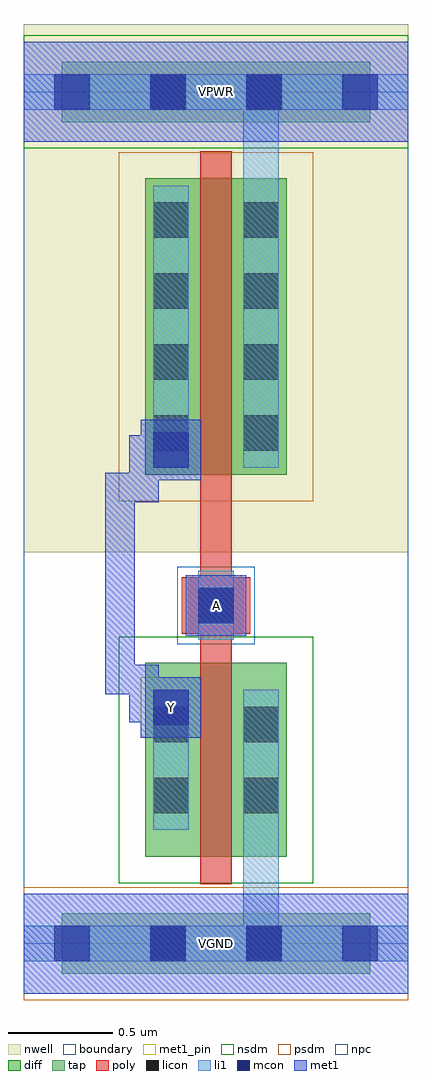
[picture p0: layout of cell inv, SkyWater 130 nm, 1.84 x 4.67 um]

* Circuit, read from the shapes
.subckt inv A VGND VPWR Y
XM1 VGND A Y VGND sky130_fd_pr__nfet_01v8 w=0.93 l=0.15
XM2 VPWR A Y VPWR sky130_fd_pr__pfet_01v8 w=1.42 l=0.15
.ends

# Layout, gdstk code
import gdstk
lib = gdstk.Library(unit=1e-6, precision=1e-09)
def R(c, l, rs):  # rectangles x0, y0, x1, y1
    for r in rs: c.add(gdstk.rectangle(r[:2], r[2:], *l))
def A(c, l, x, y, w, h, nx, ny, dx, dy):  # array of equal rectangles
    R(c, l, [(x+i*dx, y+j*dy, x+i*dx+w, y+j*dy+h) for i in range(nx) for j in range(ny)])
nwell = (64, 20)
diff = (65, 20)
tap = (65, 44)
poly = (66, 20)
licon = (66, 44)
li1 = (67, 20)
mcon = (67, 44)
met1_pin = (68, 16)
met1 = (68, 20)
nsdm = (93, 44)
psdm = (94, 20)
npc = (95, 20)
boundary = (235, 4)

inv = lib.new_cell('inv')
R(inv, nwell, [(0,1.875,1.84,4.405)])
R(inv, diff, [(0.58,0.415,1.26,1.345), (0.58,2.245,1.26,3.665)])
R(inv, tap, [(0.18,-0.145,1.66,0.145), (0.18,3.935,1.66,4.225)])
R(inv, poly, [(0.845,0.285,0.995,3.795), (0.755,1.485,1.085,1.755)])
A(inv, licon, 0.62, 2.36, 0.17, 0.17, 1, 4, 0, 0.34)
A(inv, licon, 1.05, 2.36, 0.17, 0.17, 1, 4, 0, 0.34)
R(inv, licon, [(0.605,-0.085,0.775,0.085), (1.065,-0.085,1.235,0.085), (0.62,0.625,0.79,0.795), (1.05,0.625,1.22,0.795), (0.62,0.965,0.79,1.135), (1.05,0.965,1.22,1.135), (0.835,1.535,1.005,1.705), (0.605,3.995,0.775,4.165), (1.065,3.995,1.235,4.165)])
R(inv, li1, [(0,-0.085,1.84,0.085), (1.05,-0.085,1.22,1.215), (0.62,0.545,0.79,1.215), (1.05,0.545,1.22,1.215), (0.835,1.455,1.005,1.785), (0.62,2.28,0.79,3.63), (1.05,2.28,1.22,3.63), (1.05,2.28,1.22,4.165), (0,3.995,1.84,4.165)])
A(inv, mcon, 0.145, -0.085, 0.17, 0.17, 4, 2, 0.46, 4.08)
R(inv, mcon, [(0.62,1.045,0.79,1.215), (0.835,1.535,1.005,1.705), (0.62,2.28,0.79,2.45)])
R(inv, met1_pin, [(0,-0.24,1.84,0.24), (0.56,0.985,0.85,1.275), (0.775,1.475,1.065,1.765), (0,3.84,1.84,4.32)])
R(inv, met1, [(0,-0.24,1.84,0.24), (0.56,0.985,0.85,1.275), (0.505,1.06,0.775,1.2), (0.505,1.06,0.645,1.335), (0.39,1.195,0.645,1.335), (0.39,1.195,0.53,2.255), (0.775,1.475,1.065,1.765), (0.39,2.115,0.645,2.255), (0.505,2.115,0.645,2.435), (0.56,2.22,0.85,2.51), (0.505,2.295,0.775,2.435), (0,3.84,1.84,4.32)])
R(inv, nsdm, [(0.455,0.29,1.385,1.47), (0,3.81,1.84,4.35)])
R(inv, psdm, [(0,-0.27,1.84,0.27), (0.455,2.12,1.385,3.79)])
R(inv, npc, [(0.735,1.435,1.105,1.805)])
R(inv, boundary, [(0,0,1.84,4.08)])
inv.add(gdstk.Label('A', (0.92,1.62), layer=68, texttype=5))
inv.add(gdstk.Label('Y', (0.705,1.13), layer=68, texttype=5))
inv.add(gdstk.Label('VPWR', (0.92,4.08), layer=68, texttype=5))
inv.add(gdstk.Label('VGND', (0.92,0), layer=68, texttype=5))
inv.add(gdstk.Label('A', (0.92,1.62), layer=68, texttype=16))
inv.add(gdstk.Label('Y', (0.705,1.13), layer=68, texttype=16))
inv.add(gdstk.Label('VPWR', (0.92,4.08), layer=68, texttype=16))
inv.add(gdstk.Label('VGND', (0.92,0), layer=68, texttype=16))

lib.write_gds('inv.gds')
